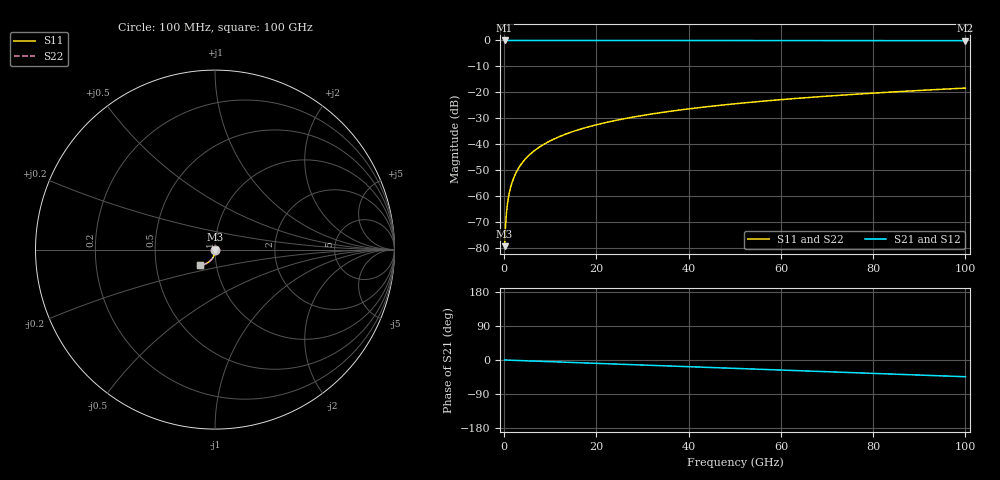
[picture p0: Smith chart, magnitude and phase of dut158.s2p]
! Touchstone file exported from HFSS 2026.1.0
!  File:  C:/ffzhzh/LocalFiles/Ansys_Project_Files/temp_train_TSV_158_1783506740_41296.aedt
!  Generated:  06:33:31 PM Jul  8, 2026
!  Design:  TSV
!  Project:  temp_train_TSV_158_1783506740_41296
! Variables:
!  h_bsmrdl = 2um
!  h_ox = 20um
!  h_rdl = 5um
!  h_sub = 88.44um
!  h_tmrdl = 5um
!  h_tsv = 88.44um
!  h_via = 3um
!  l_bsmrdl = 300um
!  l_sub = 429.18um
!  l_tmrdl = 200um
!  m_sub = 200um
!  pitch = 50.32um
!  r_tsv = 14.59um
!  s_tmrdl = 10um
!  w_bsmrdl = 18um
!  w_sub = 500um
!  w_tmrdl = 12um
!  x_tsv_center1 = 206um
!  x_tsv_center2 = 524um
!  x_tsv_center3 = 736um
!  x_tsv_center4 = 1054um
!  x_tsv_center5 = 1266um
!  x_tsv_center6 = 1584um
# GHz S MA R 50.000000
! Terminal data exported
! Port[1] = TSV1_1_T1
! Port[2] = TSV1_1_T2
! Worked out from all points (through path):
!   1000 points, 100 MHz to 100 GHz, reference 50 ohm
!   highest |S21| = 0.00 dB at 100 MHz (marker M1); lowest = -0.1 dB at 100 GHz (marker M2)
!   group delay of S21, straight-line fit = 1.23 ps
!   lowest |S11| = -79.3 dB at 100 MHz (marker M3), VSWR 1.00, Z = 50 - j0.0073 ohm
!   |S11| at or under -10 dB: start of sweep to end of sweep
!   |S22| runs from -79.3 to -18.4 dB; largest |S21 - S12| = 4e-15
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0.1  0.0001086 -42.2  0.9999 -0.0  0.9999 -0.0  0.0001086 -42.2
! Gamma 0 0 0 0
! Port Impedance 50 0 50 0
0.4  0.0003672 -66.8  0.9999 -0.2  0.9999 -0.2  0.0003672 -66.8
0.7  0.0006901 -72.9  0.9998 -0.3  0.9998 -0.3  0.0006901 -72.9
0.8  0.0008017 -74.3  0.9998 -0.4  0.9998 -0.4  0.0008017 -74.3
1.1  0.001139 -77.3  0.9997 -0.5  0.9997 -0.5  0.001139 -77.3
1.4  0.001478 -79.3  0.9997 -0.6  0.9997 -0.6  0.001478 -79.4
1.8  0.001933 -81.1  0.9997 -0.8  0.9997 -0.8  0.001933 -81.1
2.4  0.002622 -82.9  0.9996 -1.1  0.9996 -1.1  0.002622 -82.9
3  0.003319 -84.1  0.9996 -1.3  0.9996 -1.3  0.003319 -84.1
3.8  0.004257 -85.3  0.9995 -1.7  0.9995 -1.7  0.004257 -85.3
4.8  0.00544 -86.5  0.9994 -2.1  0.9994 -2.1  0.00544 -86.5
5.9  0.006747 -87.6  0.9994 -2.6  0.9994 -2.6  0.006747 -87.6
8.7  0.01009 -89.8  0.9992 -3.9  0.9992 -3.9  0.01009 -89.8
12.3  0.01442 -92.0  0.999 -5.4  0.999 -5.4  0.01442 -92.0
16.8  0.01986 -94.5  0.9988 -7.4  0.9988 -7.4  0.01986 -94.5
24.1  0.02871 -98.2  0.9984 -10.6  0.9984 -10.6  0.02871 -98.2
33.4  0.04 -102.7  0.9977 -14.7  0.9977 -14.7  0.04 -102.7
41.2  0.04949 -106.3  0.9971 -18.2  0.9971 -18.2  0.04949 -106.4
50.1  0.06031 -110.5  0.9964 -22.1  0.9964 -22.1  0.06031 -110.5
66.7  0.08048 -118.0  0.9946 -29.4  0.9946 -29.4  0.08048 -118.1
83.4  0.1008 -125.6  0.9923 -36.8  0.9923 -36.8  0.1007 -125.7
100  0.1209 -133.2  0.9896 -44.2  0.9896 -44.2  0.1209 -133.3
